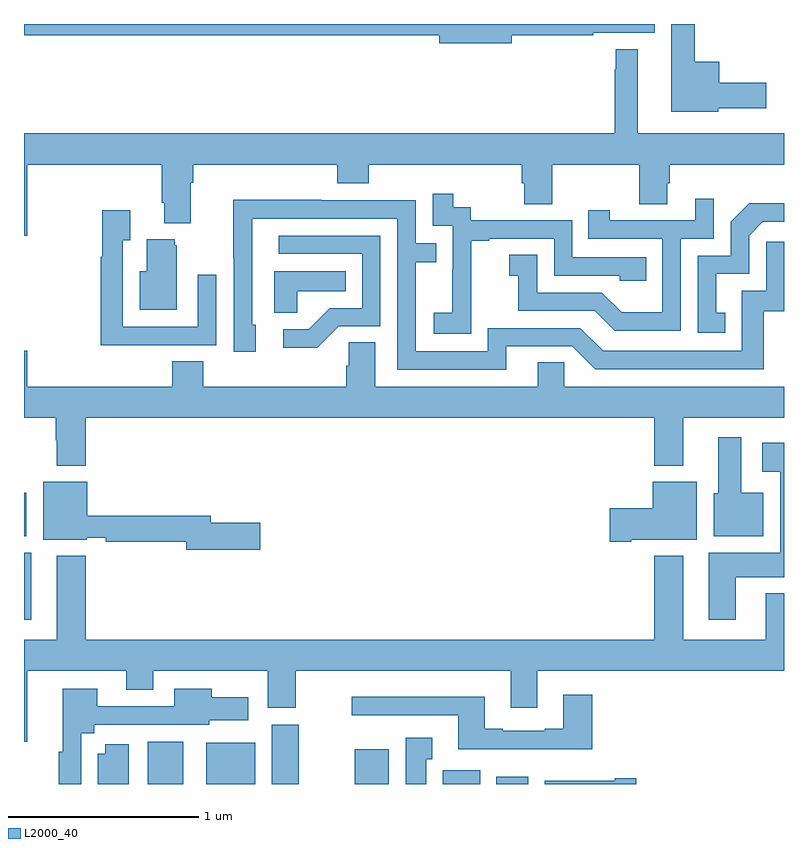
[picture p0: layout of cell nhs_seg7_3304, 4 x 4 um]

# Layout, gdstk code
import gdstk
lib = gdstk.Library(unit=1e-6, precision=1e-09)
def R(c, l, rs):  # rectangles x0, y0, x1, y1
    for r in rs: c.add(gdstk.rectangle(r[:2], r[2:], *l))
def P(c, l, *ps):  # polygons
    for p in ps: c.add(gdstk.Polygon(p, *l))
L2000_40 = (2000, 40)

nhs_seg7_3304 = lib.new_cell('nhs_seg7_3304')
R(nhs_seg7_3304, L2000_40, [(321.65,1020,321.838,1020.223), (321.959,1020,322.216,1020.217), (322.304,1020,322.446,1020.313), (322.742,1020,322.921,1020.184), (323.205,1020,323.401,1020.072), (323.486,1020,323.653,1020.037), (321,1020.864,321.037,1021.216), (321,1021.304,321.013,1021.534)])
P(nhs_seg7_3304, L2000_40, [(323.566,1023.94),(323.996,1023.94),(323.996,1023.953),(324.319,1023.953),(324.319,1024),(321,1024),(321,1023.94),(323.186,1023.94),(323.186,1023.898),(323.566,1023.898)],
  [(324.654,1023.557),(324.907,1023.557),(324.907,1023.692),(324.658,1023.692),(324.658,1023.802),(324.529,1023.802),(324.529,1024),(324.407,1024),(324.407,1023.539),(324.654,1023.539)],
  [(321.016,1023.26),(321.725,1023.26),(321.725,1023.058),(321.737,1023.058),(321.737,1022.951),(321.877,1022.951),(321.877,1023.164),(321.89,1023.164),(321.89,1023.26),(322.649,1023.26),(322.649,1023.161),(322.814,1023.161),(322.814,1023.26),(323.621,1023.26),(323.621,1023.162),(323.633,1023.162),(323.633,1023.052),(323.781,1023.052),(323.781,1023.26),(324.238,1023.26),(324.238,1023.052),(324.385,1023.052),(324.385,1023.162),(324.398,1023.162),(324.398,1023.26),(325,1023.26),(325,1023.424),(324.229,1023.424),(324.229,1023.868),(324.114,1023.868),(324.114,1023.761),(324.108,1023.761),(324.108,1023.424),(321,1023.424),(321,1022.886),(321.016,1022.886)],
  [(323.355,1022.575),(323.354,1022.575),(323.354,1022.859),(323.449,1022.859),(323.449,1022.871),(323.79,1022.871),(323.79,1022.676),(324.135,1022.676),(324.135,1022.649),(324.275,1022.649),(324.275,1022.772),(323.886,1022.772),(323.886,1022.967),(323.352,1022.967),(323.352,1023.036),(323.26,1023.036),(323.26,1023.106),(323.151,1023.106),(323.151,1022.937),(323.256,1022.937),(323.256,1022.708),(323.255,1022.708),(323.255,1022.479),(323.157,1022.479),(323.157,1022.369),(323.355,1022.369)],
  [(324.456,1022.871),(324.63,1022.871),(324.63,1023.079),(324.533,1023.079),(324.533,1022.967),(324.082,1022.967),(324.082,1023.019),(323.971,1023.019),(323.971,1022.871),(324.36,1022.871),(324.36,1022.482),(324.146,1022.482),(324.042,1022.586),(323.7,1022.586),(323.7,1022.785),(323.553,1022.785),(323.553,1022.675),(323.602,1022.675),(323.602,1022.49),(324.005,1022.49),(324.11,1022.385),(324.456,1022.385)],
  [(323.539,1022.304),(323.886,1022.304),(324.006,1022.184),(324.893,1022.184),(324.893,1022.487),(325,1022.487),(325,1022.854),(324.906,1022.854),(324.906,1022.595),(324.777,1022.595),(324.777,1022.28),(324.048,1022.28),(323.928,1022.4),(323.442,1022.4),(323.442,1022.277),(323.061,1022.277),(323.061,1022.746),(323.171,1022.746),(323.171,1022.847),(323.061,1022.847),(323.061,1023.072),(322.565,1023.072),(322.565,1023.074),(322.102,1023.074),(322.102,1022.767),(322.104,1022.767),(322.104,1022.274),(322.219,1022.274),(322.219,1022.418),(322.2,1022.418),(322.2,1022.976),(322.965,1022.976),(322.965,1022.181),(323.539,1022.181)],
  [(324.692,1022.481),(324.643,1022.481),(324.643,1022.685),(324.816,1022.685),(324.816,1022.886),(324.888,1022.958),(325,1022.958),(325,1023.056),(324.818,1023.056),(324.72,1022.958),(324.72,1022.781),(324.546,1022.781),(324.546,1022.376),(324.692,1022.376)],
  [(321.695,1022.31),(322.011,1022.31),(322.011,1022.68),(321.915,1022.68),(321.915,1022.406),(321.519,1022.406),(321.519,1022.863),(321.559,1022.863),(321.559,1023.019),(321.411,1023.019),(321.411,1022.774),(321.403,1022.774),(321.403,1022.309),(321.695,1022.309)],
  [(322.656,1022.409),(322.875,1022.409),(322.875,1022.886),(322.341,1022.886),(322.341,1022.79),(322.779,1022.79),(322.779,1022.505),(322.61,1022.505),(322.499,1022.394),(322.365,1022.394),(322.365,1022.297),(322.543,1022.297)],
  [(321.805,1022.835),(321.794,1022.835),(321.794,1022.866),(321.647,1022.866),(321.647,1022.698),(321.608,1022.698),(321.608,1022.495),(321.805,1022.495)],
  [(322.437,1022.594),(322.694,1022.594),(322.694,1022.698),(322.316,1022.698),(322.316,1022.479),(322.437,1022.479)],
  [(321.326,1021.928),(324.317,1021.928),(324.317,1021.676),(324.469,1021.676),(324.469,1021.928),(325,1021.928),(325,1022.092),(323.844,1022.092),(323.844,1022.219),(323.705,1022.219),(323.705,1022.092),(322.849,1022.092),(322.849,1022.324),(322.71,1022.324),(322.71,1022.201),(322.697,1022.201),(322.697,1022.092),(321.944,1022.092),(321.944,1022.225),(321.779,1022.225),(321.779,1022.092),(321.016,1022.092),(321.016,1022.281),(321,1022.281),(321,1021.928),(321.166,1021.928),(321.166,1021.808),(321.173,1021.808),(321.173,1021.676),(321.326,1021.676)],
  [(324.892,1021.534),(324.775,1021.534),(324.775,1021.825),(324.653,1021.825),(324.653,1021.53),(324.629,1021.53),(324.629,1021.304),(324.892,1021.304)],
  [(324.745,1021.088),(325,1021.088),(325,1021.795),(324.885,1021.795),(324.885,1021.643),(324.98,1021.643),(324.98,1021.216),(324.605,1021.216),(324.605,1020.864),(324.745,1020.864)],
  [(322.243,1021.376),(321.982,1021.376),(321.982,1021.412),(321.334,1021.412),(321.334,1021.591),(321.101,1021.591),(321.101,1021.286),(321.33,1021.286),(321.33,1021.296),(321.43,1021.296),(321.43,1021.276),(321.854,1021.276),(321.854,1021.234),(322.243,1021.234)],
  [(324.196,1021.286),(324.541,1021.286),(324.541,1021.591),(324.308,1021.591),(324.308,1021.452),(324.084,1021.452),(324.084,1021.274),(324.196,1021.274)],
  [(321.016,1020.596),(321.539,1020.596),(321.539,1020.497),(321.679,1020.497),(321.679,1020.596),(322.283,1020.596),(322.283,1020.402),(322.431,1020.402),(322.431,1020.596),(323.561,1020.596),(323.561,1020.402),(323.701,1020.402),(323.701,1020.596),(325,1020.596),(325,1021.003),(324.905,1021.003),(324.905,1020.76),(324.469,1020.76),(324.469,1021.201),(324.317,1021.201),(324.317,1020.76),(321.326,1020.76),(321.326,1021.201),(321.173,1021.201),(321.173,1020.76),(321,1020.76),(321,1020.222),(321.016,1020.222)],
  [(321.3,1020.266),(321.37,1020.266),(321.37,1020.312),(321.975,1020.312),(321.975,1020.335),(322.18,1020.335),(322.18,1020.457),(321.987,1020.457),(321.987,1020.502),(321.791,1020.502),(321.791,1020.408),(321.385,1020.408),(321.385,1020.502),(321.203,1020.502),(321.203,1020.17),(321.184,1020.17),(321.184,1020),(321.3,1020)],
  [(323.99,1020.469),(323.837,1020.469),(323.837,1020.292),(323.741,1020.292),(323.741,1020.279),(323.521,1020.279),(323.521,1020.292),(323.425,1020.292),(323.425,1020.46),(322.725,1020.46),(322.725,1020.363),(323.285,1020.363),(323.285,1020.182),(323.99,1020.182)],
  [(323.116,1020.131),(323.149,1020.131),(323.149,1020.244),(323.009,1020.244),(323.009,1020),(323.116,1020)],
  [(321.55,1020.209),(321.428,1020.209),(321.428,1020.16),(321.389,1020.16),(321.389,1020),(321.55,1020)],
  [(324.223,1020.029),(324.11,1020.029),(324.11,1020.016),(323.741,1020.016),(323.741,1020),(324.223,1020)])

lib.write_gds('nhs_seg7_3304.gds')
